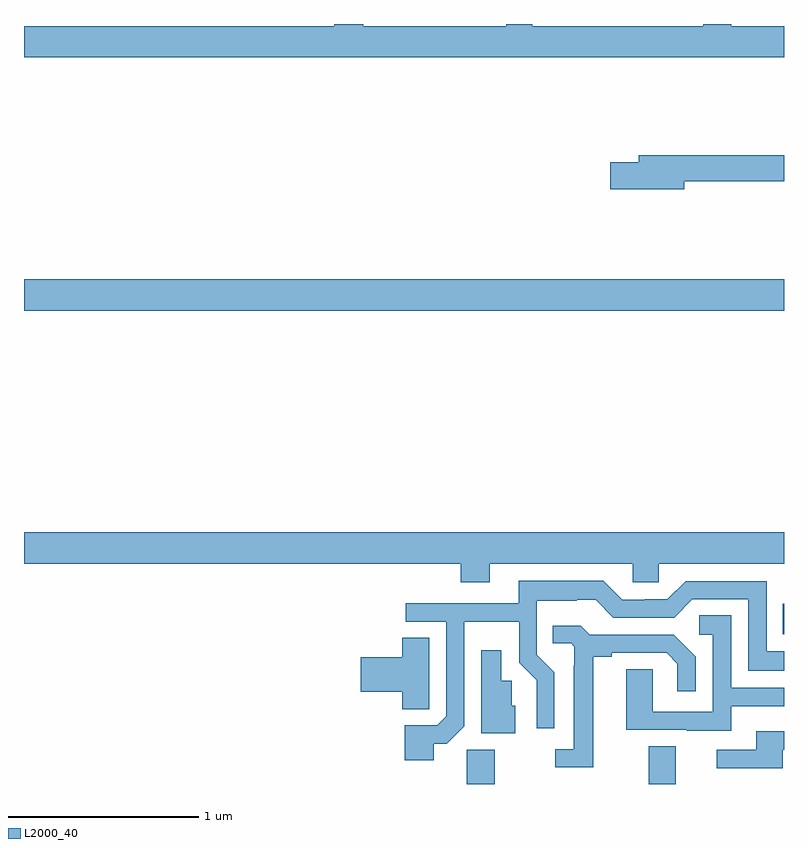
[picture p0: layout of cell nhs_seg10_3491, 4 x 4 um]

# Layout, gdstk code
import gdstk
lib = gdstk.Library(unit=1e-6, precision=1e-09)
def R(c, l, rs):  # rectangles x0, y0, x1, y1
    for r in rs: c.add(gdstk.rectangle(r[:2], r[2:], *l))
def P(c, l, *ps):  # polygons
    for p in ps: c.add(gdstk.Polygon(p, *l))
L2000_40 = (2000, 40)

nhs_seg10_3491 = lib.new_cell('nhs_seg10_3491')
R(nhs_seg10_3491, L2000_40, [(303.33,1288.5,303.477,1288.681), (304.289,1288.5,304.429,1288.7), (304.993,1289.289,305,1289.449), (301,1290.992,305,1291.156)])
P(nhs_seg10_3491, L2000_40, [(305,1292.488),(304.723,1292.488),(304.723,1292.5),(304.576,1292.5),(304.576,1292.488),(303.675,1292.488),(303.675,1292.5),(303.537,1292.5),(303.537,1292.488),(302.785,1292.488),(302.785,1292.5),(302.633,1292.5),(302.633,1292.488),(301,1292.488),(301,1292.324),(305,1292.324)],
  [(304.474,1291.672),(305,1291.672),(305,1291.808),(304.235,1291.808),(304.235,1291.772),(304.086,1291.772),(304.086,1291.63),(304.474,1291.63)],
  [(303.451,1289.66),(304.203,1289.66),(304.203,1289.562),(304.341,1289.562),(304.341,1289.66),(305,1289.66),(305,1289.824),(301,1289.824),(301,1289.66),(303.299,1289.66),(303.299,1289.561),(303.451,1289.561)],
  [(303.157,1288.711),(303.225,1288.711),(303.318,1288.803),(303.318,1289.354),(303.606,1289.354),(303.606,1289.138),(303.698,1289.046),(303.698,1288.794),(303.792,1288.794),(303.792,1289.088),(303.699,1289.181),(303.699,1289.465),(303.908,1289.465),(303.908,1289.469),(304.008,1289.469),(304.101,1289.376),(304.422,1289.376),(304.518,1289.472),(304.812,1289.472),(304.812,1289.096),(305,1289.096),(305,1289.199),(304.908,1289.199),(304.908,1289.568),(304.482,1289.568),(304.386,1289.472),(304.266,1289.472),(304.266,1289.469),(304.149,1289.469),(304.049,1289.569),(303.605,1289.569),(303.605,1289.451),(303.009,1289.451),(303.009,1289.355),(303.222,1289.355),(303.222,1288.857),(303.174,1288.809),(303.005,1288.809),(303.005,1288.626),(303.157,1288.626)],
  [(304.723,1288.91),(305,1288.91),(305,1289.007),(304.722,1289.007),(304.722,1289.387),(304.554,1289.387),(304.554,1289.286),(304.626,1289.286),(304.626,1288.881),(304.308,1288.881),(304.308,1289.105),(304.169,1289.105),(304.169,1288.785),(304.487,1288.785),(304.487,1288.781),(304.723,1288.781)],
  [(303.997,1289.17),(304.093,1289.17),(304.093,1289.19),(304.382,1289.19),(304.439,1289.133),(304.439,1288.989),(304.536,1288.989),(304.536,1289.17),(304.42,1289.286),(303.978,1289.286),(303.93,1289.333),(303.784,1289.333),(303.784,1289.241),(303.879,1289.241),(303.897,1289.223),(303.897,1289.123),(303.893,1289.123),(303.893,1288.683),(303.795,1288.683),(303.795,1288.587),(303.997,1288.587)],
  [(303.132,1289.002),(303.133,1289.002),(303.133,1289.27),(302.99,1289.27),(302.99,1289.168),(302.772,1289.168),(302.772,1288.985),(302.99,1288.985),(302.99,1288.894),(303.132,1288.894)],
  [(303.586,1288.911),(303.567,1288.911),(303.567,1289.043),(303.511,1289.043),(303.511,1289.203),(303.407,1289.203),(303.407,1288.766),(303.586,1288.766)],
  [(304.993,1288.68),(305,1288.68),(305,1288.777),(304.853,1288.777),(304.853,1288.68),(304.647,1288.68),(304.647,1288.584),(304.993,1288.584)])

lib.write_gds('nhs_seg10_3491.gds')
